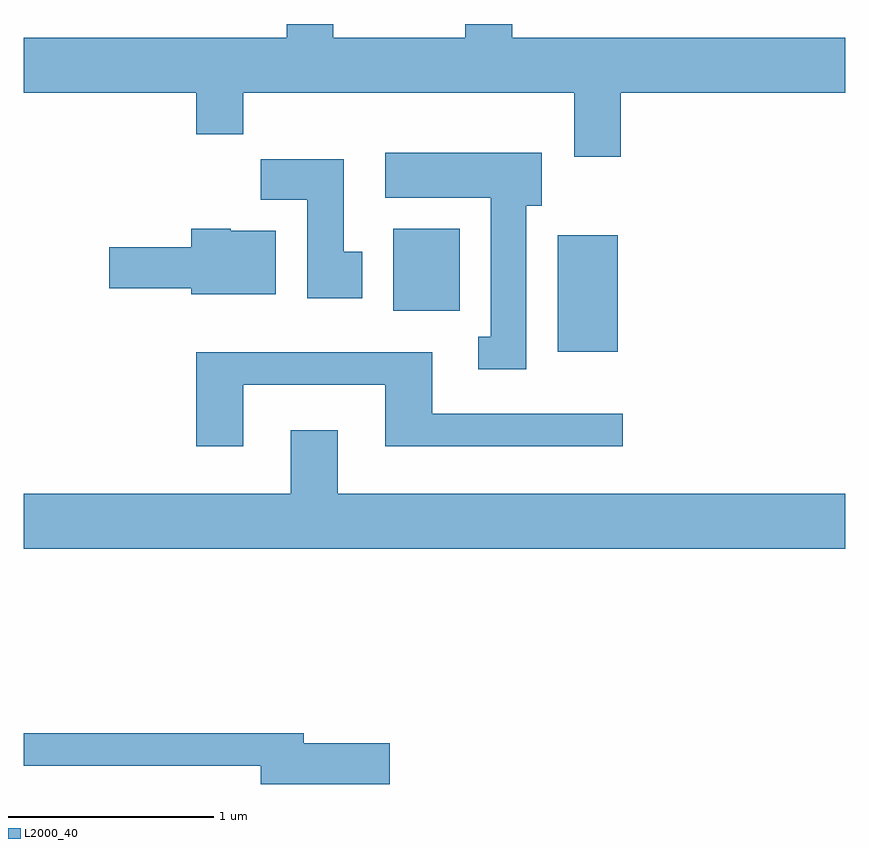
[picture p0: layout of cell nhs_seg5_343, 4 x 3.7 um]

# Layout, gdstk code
import gdstk
lib = gdstk.Library(unit=1e-6, precision=1e-09)
def R(c, l, rs):  # rectangles x0, y0, x1, y1
    for r in rs: c.add(gdstk.rectangle(r[:2], r[2:], *l))
def P(c, l, *ps):  # polygons
    for p in ps: c.add(gdstk.Polygon(p, *l))
L2000_40 = (2000, 40)

nhs_seg5_343 = lib.new_cell('nhs_seg5_343')
R(nhs_seg5_343, L2000_40, [(198.211,1404.476,198.504,1405.044), (197.411,1404.676,197.734,1405.074)])
P(nhs_seg5_343, L2000_40, [(198.519,1405.736),(199.611,1405.736),(199.611,1406.004),(197.989,1406.004),(197.989,1406.072),(197.761,1406.072),(197.761,1406.004),(197.119,1406.004),(197.119,1406.072),(196.891,1406.072),(196.891,1406.004),(195.611,1406.004),(195.611,1405.736),(196.451,1405.736),(196.451,1405.536),(196.679,1405.536),(196.679,1405.736),(198.291,1405.736),(198.291,1405.426),(198.519,1405.426)],
  [(198.059,1405.186),(198.134,1405.186),(198.134,1405.444),(197.371,1405.444),(197.371,1405.226),(197.886,1405.226),(197.886,1404.549),(197.823,1404.549),(197.823,1404.391),(198.059,1404.391)],
  [(197.259,1404.964),(197.169,1404.964),(197.169,1405.414),(196.766,1405.414),(196.766,1405.216),(196.991,1405.216),(196.991,1404.736),(197.259,1404.736)],
  [(196.839,1405.064),(196.62,1405.064),(196.62,1405.074),(196.426,1405.074),(196.426,1404.984),(196.026,1404.984),(196.026,1404.786),(196.426,1404.786),(196.426,1404.756),(196.839,1404.756)],
  [(196.679,1404.316),(197.371,1404.316),(197.371,1404.016),(198.528,1404.016),(198.528,1404.174),(197.599,1404.174),(197.599,1404.474),(196.451,1404.474),(196.451,1404.016),(196.679,1404.016)],
  [(199.611,1403.784),(197.139,1403.784),(197.139,1404.094),(196.911,1404.094),(196.911,1403.784),(195.611,1403.784),(195.611,1403.516),(199.611,1403.516)],
  [(197.394,1402.569),(196.974,1402.569),(196.974,1402.619),(195.611,1402.619),(195.611,1402.461),(196.766,1402.461),(196.766,1402.371),(197.394,1402.371)])

lib.write_gds('nhs_seg5_343.gds')
